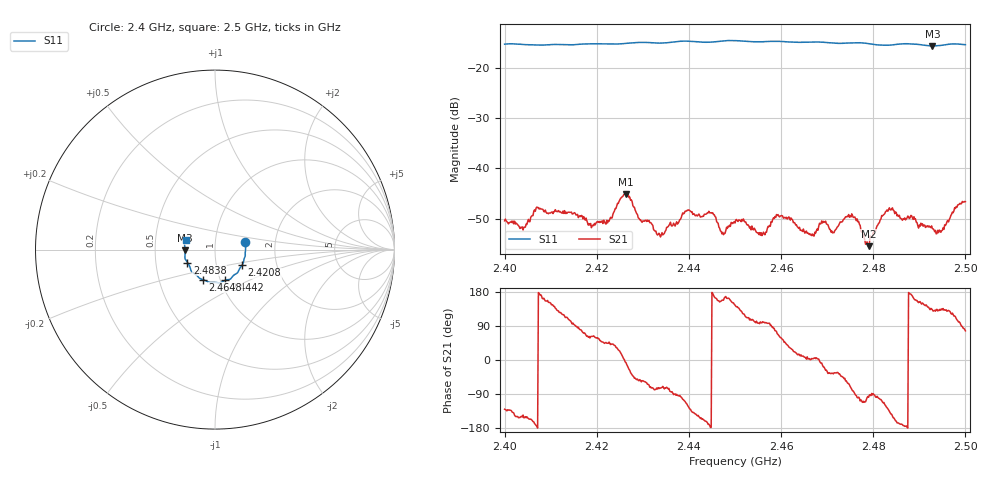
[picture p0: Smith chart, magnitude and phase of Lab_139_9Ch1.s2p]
# Hz S RI R 50
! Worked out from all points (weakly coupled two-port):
!   601 points, 2.4 GHz to 2.5 GHz, reference 50 ohm
!   highest |S21| = -45.08 dB at 2.4263 GHz (marker M1); lowest = -55.5 dB at 2.479 GHz (marker M2)
!   lowest |S11| = -15.6 dB at 2.4928 GHz (marker M3), VSWR 1.40, Z = 35.8 - j0.35 ohm
!   |S11| at or under -10 dB: start of sweep to end of sweep
!   S12 and S22 are empty: the file has one direction only
!   S11 on the Smith chart (normalised r, x): 2.4 GHz: 1.40, +0.12; 2.4208 GHz: 1.33, -0.24; 2.4442 GHz: 1.05, -0.37; 2.4648 GHz: 0.83, -0.29; 2.4838 GHz: 0.73, -0.11; 2.5 GHz: 0.72, +0.08
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2.4e9  0.1677 0.0412  -0.00193 -0.00231  0 0  0 0
2.404e9  0.1706 0.0171  -0.00201 -0.00139  0 0  0 0
2.407333e9  0.1691 -0.0122  -0.00408 0.000146  0 0  0 0
2.416667e9  0.1591 -0.068  0.000676 0.00334  0 0  0 0
2.420833e9  0.1506 -0.0868  0.00187 0.0023  0 0  0 0
2.426333e9  0.1321 -0.1161  0.00553 -0.000659  0 0  0 0
2.433333e9  0.1078 -0.1403  0.000648 -0.00211  0 0  0 0
2.439667e9  0.0831 -0.1654  -0.00186 -0.00337  0 0  0 0
2.444167e9  0.0566 -0.1713  -0.00356 -0.000637  0 0  0 0
2.447333e9  0.0358 -0.1823  -0.00215 0.000862  0 0  0 0
2.45e9  0.0246 -0.1861  -0.00234 0.00164  0 0  0 0
2.456e9  -0.0139 -0.182  -0.000425 0.00217  0 0  0 0
2.459833e9  -0.0347 -0.1807  0.00172 0.00289  0 0  0 0
2.464833e9  -0.0683 -0.1669  0.00246 0.000443  0 0  0 0
2.466667e9  -0.08 -0.1628  0.00214 0.000151  0 0  0 0
2.475e9  -0.1223 -0.1286  0.00115 -0.00318  0 0  0 0
2.479e9  -0.1359 -0.1099  -0.000243 -0.00167  0 0  0 0
2.483333e9  -0.1506 -0.0761  -0.00258 -0.00289  0 0  0 0
2.483833e9  -0.1532 -0.0719  -0.00306 -0.00234  0 0  0 0
2.492833e9  -0.1657 -0.00476  -0.0017 0.00186  0 0  0 0
2.494833e9  -0.1675 0.0158  -0.00169 0.0017  0 0  0 0
2.5e9  -0.1622 0.053  0.00105 0.00456  0 0  0 0
